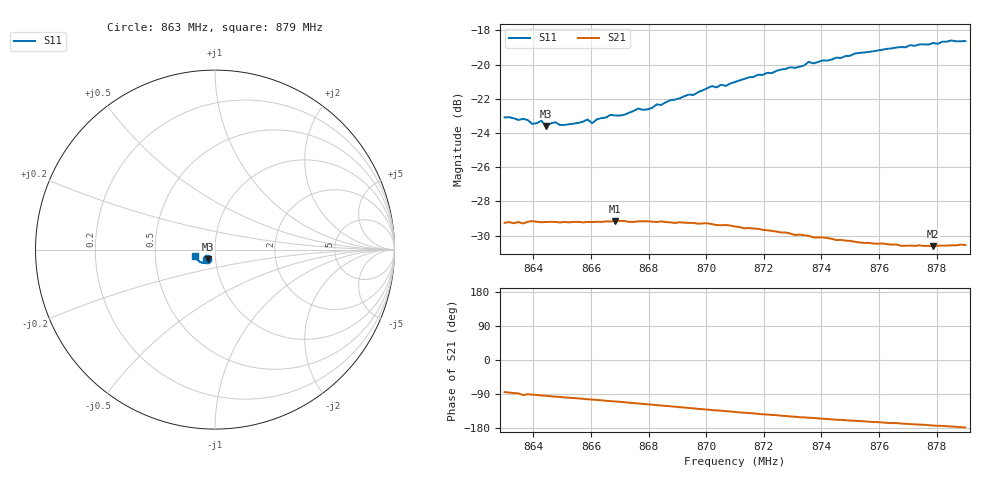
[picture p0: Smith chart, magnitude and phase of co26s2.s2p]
# HZ S RI R 50
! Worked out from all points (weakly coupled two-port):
!   101 points, 863 MHz to 879 MHz, reference 50 ohm
!   highest |S21| = -29.14 dB at 866.84 MHz (marker M1); lowest = -30.6 dB at 877.88 MHz (marker M2)
!   lowest |S11| = -23.6 dB at 864.44 MHz (marker M3), VSWR 1.14, Z = 46.1 - j5 ohm
!   |S11| at or under -10 dB: start of sweep to end of sweep
!   S12 and S22 are empty: the file has one direction only
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8.63e8  -0.0446 -0.0541  0.00317 -0.0343  0 0  0 0
8.6364e8  -0.0421 -0.0551  -0.00144 -0.0343  0 0  0 0
8.6396e8  -0.0389 -0.0547  -0.00081 -0.0348  0 0  0 0
8.6428e8  -0.0395 -0.0559  -0.00222 -0.0345  0 0  0 0
8.6444e8  -0.0381 -0.054  -0.00264 -0.0346  0 0  0 0
8.6476e8  -0.0382 -0.056  -0.00409 -0.0344  0 0  0 0
8.6508e8  -0.0362 -0.056  -0.00536 -0.0343  0 0  0 0
8.6572e8  -0.0351 -0.0583  -0.00746 -0.0337  0 0  0 0
8.6588e8  -0.0363 -0.0588  -0.00819 -0.0337  0 0  0 0
8.6604e8  -0.0346 -0.0578  -0.00863 -0.0335  0 0  0 0
8.662e8  -0.0354 -0.0594  -0.00924 -0.0335  0 0  0 0
8.6684e8  -0.0346 -0.062  -0.0116 -0.0329  0 0  0 0
8.6844e8  -0.0364 -0.067  -0.0175 -0.03  0 0  0 0
8.702e8  -0.0454 -0.0737  -0.023 -0.0253  0 0  0 0
8.7068e8  -0.0463 -0.0732  -0.024 -0.024  0 0  0 0
8.71e8  -0.0497 -0.0738  -0.0246 -0.0229  0 0  0 0
8.734e8  -0.0662 -0.0741  -0.0278 -0.0152  0 0  0 0
8.7356e8  -0.0697 -0.0742  -0.028 -0.0146  0 0  0 0
8.7372e8  -0.0684 -0.0741  -0.0278 -0.0143  0 0  0 0
8.7644e8  -0.0937 -0.0604  -0.0289 -0.00697  0 0  0 0
8.7788e8  -0.1048 -0.0488  -0.0292 -0.00358  0 0  0 0
8.79e8  -0.1108 -0.0381  -0.0297 -0.00101  0 0  0 0
